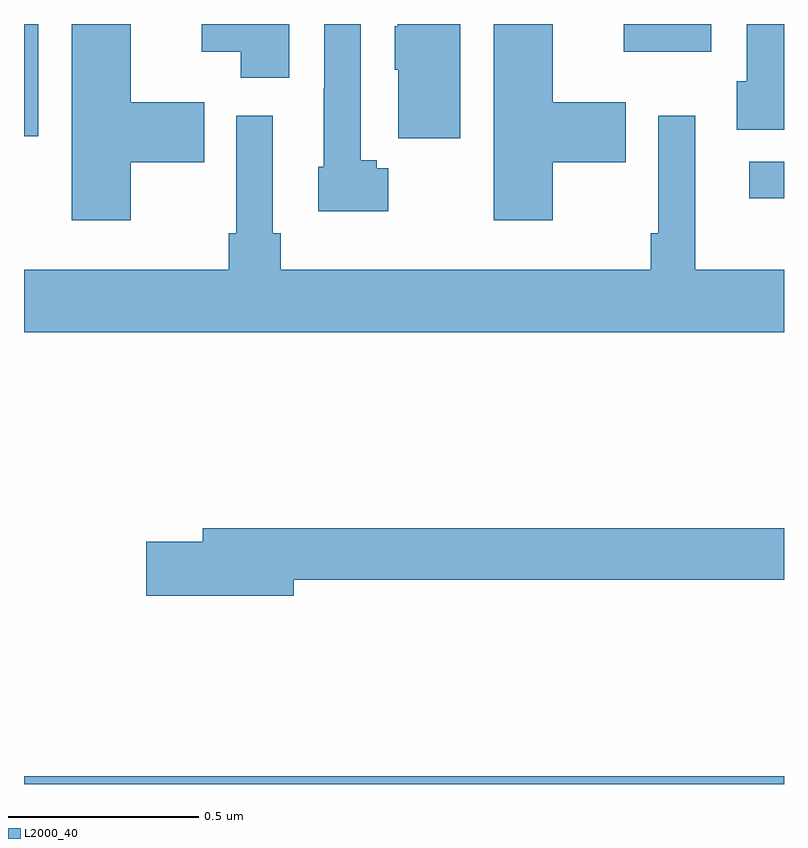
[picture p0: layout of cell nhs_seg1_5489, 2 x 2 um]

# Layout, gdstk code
import gdstk
lib = gdstk.Library(unit=1e-6, precision=1e-09)
def R(c, l, rs):  # rectangles x0, y0, x1, y1
    for r in rs: c.add(gdstk.rectangle(r[:2], r[2:], *l))
def P(c, l, *ps):  # polygons
    for p in ps: c.add(gdstk.Polygon(p, *l))
L2000_40 = (2000, 40)

nhs_seg1_5489 = lib.new_cell('nhs_seg1_5489')
R(nhs_seg1_5489, L2000_40, [(179,561.199,181,561.22), (180.909,562.74,181,562.836), (179,562.904,179.038,563.199), (180.578,563.126,180.808,563.199)])
P(nhs_seg1_5489, L2000_40, [(180.391,562.835),(180.584,562.835),(180.584,562.993),(180.391,562.993),(180.391,563.199),(180.236,563.199),(180.236,562.683),(180.391,562.683)],
  [(179.959,562.82),(179.928,562.82),(179.928,562.841),(179.886,562.841),(179.886,563.199),(179.79,563.199),(179.79,563.03),(179.789,563.03),(179.789,562.824),(179.774,562.824),(179.774,562.706),(179.959,562.706)],
  [(179.281,562.835),(179.474,562.835),(179.474,562.993),(179.281,562.993),(179.281,563.199),(179.126,563.199),(179.126,562.683),(179.281,562.683)],
  [(181,563.199),(180.902,563.199),(180.902,563.049),(180.875,563.049),(180.875,562.921),(181,562.921)],
  [(179.698,563.199),(179.468,563.199),(179.468,563.126),(179.57,563.126),(179.57,563.057),(179.698,563.057)],
  [(180.148,563.199),(179.984,563.199),(179.984,563.193),(179.975,563.193),(179.975,563.079),(179.985,563.079),(179.985,562.899),(180.148,562.899)],
  [(181,562.552),(180.766,562.552),(180.766,562.957),(180.669,562.957),(180.669,562.648),(180.649,562.648),(180.649,562.552),(179.675,562.552),(179.675,562.648),(179.655,562.648),(179.655,562.957),(179.559,562.957),(179.559,562.648),(179.539,562.648),(179.539,562.552),(179,562.552),(179,562.388),(181,562.388)],
  [(179.71,561.736),(181,561.736),(181,561.872),(179.471,561.872),(179.471,561.836),(179.322,561.836),(179.322,561.694),(179.71,561.694)])

lib.write_gds('nhs_seg1_5489.gds')
